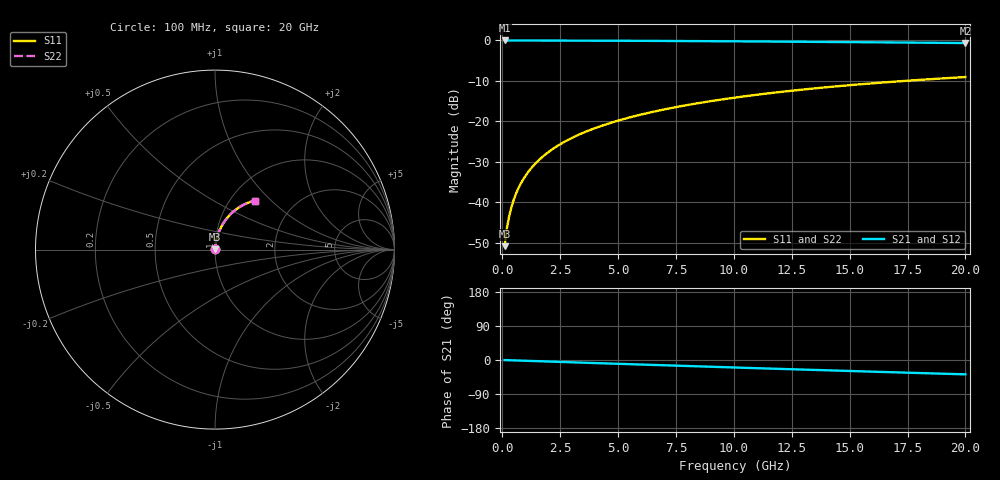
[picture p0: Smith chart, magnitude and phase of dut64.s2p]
! Touchstone file exported from HFSS 2026.1.0
!  File:  C:/ffzhzh/LocalFiles/Ansys_Project_Files/temp_train_TMRDL_64_1782881093_8056.aedt
!  Generated:  12:46:10 PM Jul  1, 2026
!  Design:  TMRDL
!  Project:  temp_train_TMRDL_64_1782881093_8056
! Variables:
!  h_bsmrdl = 2um
!  h_ox = 20um
!  h_rdl = 5um
!  h_sub = 80um
!  h_tmrdl = 4.8um
!  h_tsv = 80um
!  h_via = 3um
!  l_bsmrdl = 300um
!  l_sub = 937.85um
!  l_tmrdl = 537.85um
!  m_sub = 200um
!  pitch = 56.94um
!  r_tsv = 6um
!  s_tmrdl = 10um
!  w_bsmrdl = 18um
!  w_sub = 500um
!  w_tmrdl = 25.37um
!  x_tsv_center1 = 550.535um
!  x_tsv_center2 = 868.535um
!  x_tsv_center3 = 1431.755um
!  x_tsv_center4 = 1749.755um
!  x_tsv_center5 = 2312.975um
!  x_tsv_center6 = 2630.975um
# GHz S MA R 50.000000
! Terminal data exported
! Port[1] = TM_RDL1_1_T1
! Port[2] = TM_RDL1_1_T2
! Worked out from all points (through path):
!   200 points, 100 MHz to 20 GHz, reference 50 ohm
!   highest |S21| = -0.02 dB at 100 MHz (marker M1); lowest = -0.7 dB at 20 GHz (marker M2)
!   group delay of S21, straight-line fit = 5.26 ps
!   lowest |S11| = -50.9 dB at 100 MHz (marker M3), VSWR 1.01, Z = 50.2 + j0.226 ohm
!   |S11| at or under -10 dB: start of sweep to 17.41 GHz
!   |S22| runs from -50.9 to -9.1 dB; largest |S21 - S12| = 3.2e-15
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0.1  0.002862 52.0  0.9982 -0.2  0.9982 -0.2  0.002862 52.0
! Gamma 0 0 0 0
! Port Impedance 50 0 50 0
0.2  0.004798 66.5  0.9981 -0.4  0.9981 -0.4  0.004798 66.5
0.3  0.006797 72.5  0.998 -0.6  0.998 -0.6  0.006797 72.5
0.4  0.008817 75.8  0.9979 -0.8  0.9979 -0.8  0.008817 75.8
0.5  0.01085 77.9  0.9979 -1.0  0.9979 -1.0  0.01085 77.9
0.7  0.01496 80.3  0.9977 -1.4  0.9977 -1.4  0.01496 80.3
0.8  0.01703 81.0  0.9977 -1.6  0.9977 -1.6  0.01703 81.0
1  0.02117 81.8  0.9975 -2.0  0.9975 -2.0  0.02117 81.8
1.2  0.02531 82.3  0.9974 -2.5  0.9974 -2.5  0.02531 82.3
1.4  0.02945 82.4  0.9972 -2.9  0.9972 -2.9  0.02945 82.4
1.7  0.03565 82.4  0.9968 -3.5  0.9968 -3.5  0.03565 82.4
2  0.04183 82.2  0.9964 -4.1  0.9964 -4.1  0.04183 82.2
2.7  0.05614 81.3  0.9953 -5.5  0.9953 -5.5  0.05614 81.3
3.5  0.07228 80.1  0.9938 -7.1  0.9938 -7.1  0.07228 80.1
4.2  0.08622 78.9  0.9923 -8.5  0.9923 -8.5  0.08622 78.9
5  0.1019 77.4  0.9903 -10.1  0.9903 -10.1  0.1019 77.4
6.8  0.1366 74.2  0.9853 -13.6  0.9853 -13.6  0.1366 74.2
8.3  0.1646 71.4  0.9804 -16.5  0.9804 -16.5  0.1646 71.4
10.1  0.1973 68.2  0.9738 -19.9  0.9738 -19.9  0.1973 68.2
13.4  0.2538 62.2  0.9599 -26.1  0.9599 -26.1  0.2538 62.2
16.7  0.3057 56.4  0.9442 -32.1  0.9442 -32.1  0.3057 56.4
20  0.3525 50.8  0.9275 -37.9  0.9275 -37.9  0.3525 50.8
